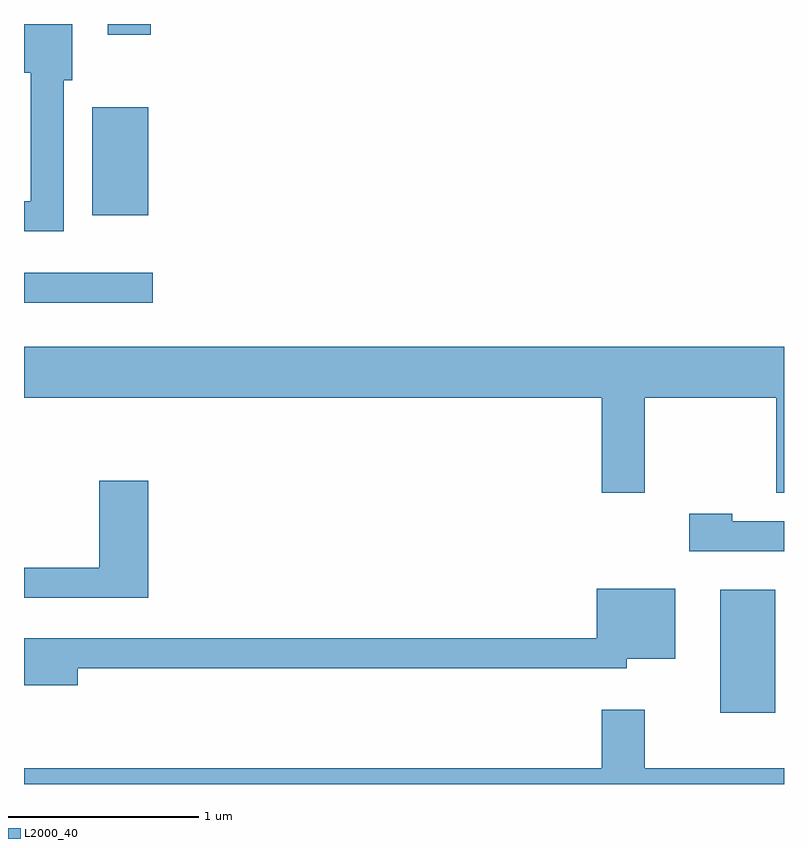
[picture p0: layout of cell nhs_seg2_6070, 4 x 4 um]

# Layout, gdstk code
import gdstk
lib = gdstk.Library(unit=1e-6, precision=1e-09)
def R(c, l, rs):  # rectangles x0, y0, x1, y1
    for r in rs: c.add(gdstk.rectangle(r[:2], r[2:], *l))
def P(c, l, *ps):  # polygons
    for p in ps: c.add(gdstk.Polygon(p, *l))
L2000_40 = (2000, 40)

nhs_seg2_6070 = lib.new_cell('nhs_seg2_6070')
R(nhs_seg2_6070, L2000_40, [(367.276,1082.176,367.564,1082.824), (363.611,1084.336,364.288,1084.494), (363.971,1084.796,364.264,1085.364), (364.051,1085.746,364.279,1085.802)])
P(nhs_seg2_6070, L2000_40, [(363.819,1085.506),(363.864,1085.506),(363.864,1085.802),(363.611,1085.802),(363.611,1085.546),(363.646,1085.546),(363.646,1084.869),(363.611,1084.869),(363.611,1084.711),(363.819,1084.711)],
  [(366.879,1083.836),(367.571,1083.836),(367.571,1083.336),(367.611,1083.336),(367.611,1084.104),(363.611,1084.104),(363.611,1083.836),(366.651,1083.836),(366.651,1083.336),(366.879,1083.336)],
  [(364.264,1083.399),(364.006,1083.399),(364.006,1082.939),(363.611,1082.939),(363.611,1082.781),(364.264,1082.781)],
  [(367.611,1083.184),(367.339,1083.184),(367.339,1083.224),(367.111,1083.224),(367.111,1083.026),(367.611,1083.026)],
  [(363.894,1082.411),(366.784,1082.411),(366.784,1082.461),(367.039,1082.461),(367.039,1082.829),(366.626,1082.829),(366.626,1082.569),(363.611,1082.569),(363.611,1082.321),(363.894,1082.321)],
  [(367.611,1081.884),(366.879,1081.884),(366.879,1082.194),(366.651,1082.194),(366.651,1081.884),(363.611,1081.884),(363.611,1081.802),(367.611,1081.802)])

lib.write_gds('nhs_seg2_6070.gds')
